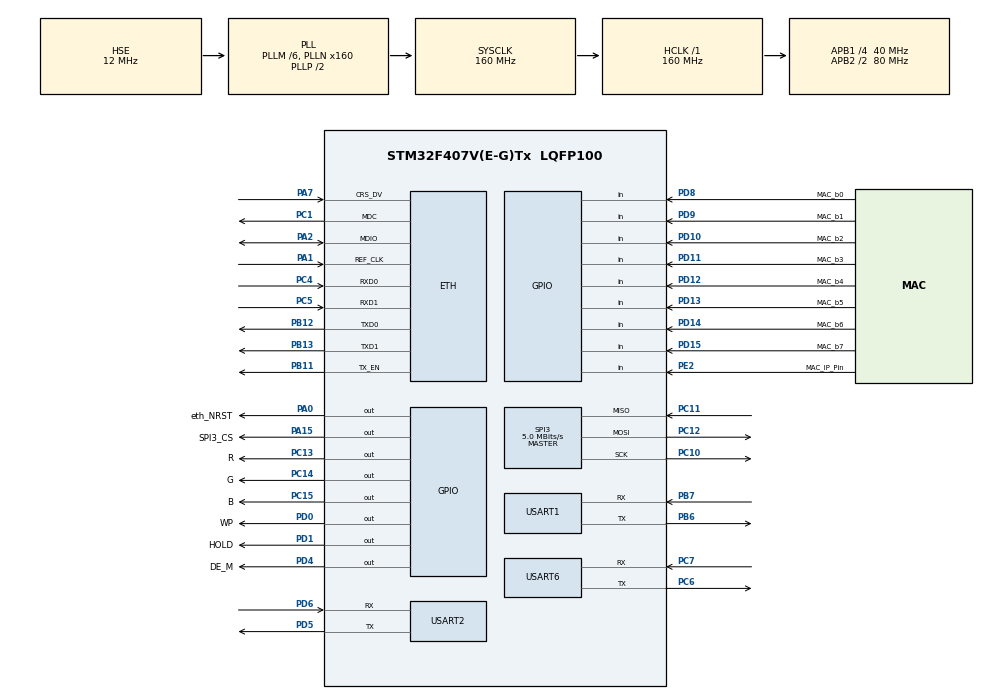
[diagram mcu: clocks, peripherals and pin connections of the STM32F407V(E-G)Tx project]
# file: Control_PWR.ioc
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Dma.Request0=USART1_RX
Dma.Request1=USART6_RX
Dma.Request2=USART6_TX
Dma.USART1_RX.0.Direction=DMA_PERIPH_TO_MEMORY
Dma.USART1_RX.0.FIFOMode=DMA_FIFOMODE_DISABLE
Dma.USART1_RX.0.Instance=DMA2_Stream2
Dma.USART1_RX.0.MemDataAlignment=DMA_MDATAALIGN_HALFWORD
Dma.USART1_RX.0.MemInc=DMA_MINC_ENABLE
Dma.USART1_RX.0.Mode=DMA_NORMAL
Dma.USART1_RX.0.PeriphDataAlignment=DMA_PDATAALIGN_HALFWORD
Dma.USART1_RX.0.PeriphInc=DMA_PINC_DISABLE
Dma.USART1_RX.0.Priority=DMA_PRIORITY_LOW
Dma.USART6_RX.1.Direction=DMA_PERIPH_TO_MEMORY
Dma.USART6_RX.1.FIFOMode=DMA_FIFOMODE_DISABLE
Dma.USART6_RX.1.Instance=DMA2_Stream1
Dma.USART6_RX.1.MemDataAlignment=DMA_MDATAALIGN_BYTE
Dma.USART6_RX.1.MemInc=DMA_MINC_ENABLE
Dma.USART6_RX.1.Mode=DMA_CIRCULAR
Dma.USART6_RX.1.PeriphDataAlignment=DMA_PDATAALIGN_BYTE
Dma.USART6_RX.1.PeriphInc=DMA_PINC_DISABLE
Dma.USART6_RX.1.Priority=DMA_PRIORITY_LOW
Dma.USART6_TX.2.Direction=DMA_MEMORY_TO_PERIPH
Dma.USART6_TX.2.FIFOMode=DMA_FIFOMODE_DISABLE
Dma.USART6_TX.2.Instance=DMA2_Stream6
Dma.USART6_TX.2.MemDataAlignment=DMA_MDATAALIGN_BYTE
Dma.USART6_TX.2.MemInc=DMA_MINC_ENABLE
Dma.USART6_TX.2.Mode=DMA_NORMAL
Dma.USART6_TX.2.PeriphDataAlignment=DMA_PDATAALIGN_BYTE
Dma.USART6_TX.2.PeriphInc=DMA_PINC_DISABLE
Dma.USART6_TX.2.Priority=DMA_PRIORITY_LOW
ETH.MACAddr=44\:84\:23\:84\:44\:76
ETH.MediaInterface=HAL_ETH_RMII_MODE
FREERTOS.BinarySemaphores01=ADC_end,Dynamic,NULL;ADC_end2,Dynamic,NULL;Resive_USART,Dynamic,NULL
FREERTOS.Queues01=rxDataUART2,16,uint8_t,0,Dynamic,NULL,NULL
FREERTOS.Tasks01=MainTask,0,256,mainTask,Default,NULL,Dynamic,NULL,NULL;LED,0,128,led,Default,NULL,Dynamic,NULL,NULL;ethTas,0,768,eth_Task,Default,NULL,Dynamic,NULL,NULL;MBRTUTask,0,256,mbrtuTask,Default,NULL,Dynamic,NULL,NULL;MBETHTask,0,512,mbethTask,Default,NULL,Dynamic,NULL,NULL;uart_task,0,1024,uart_Task,Default,NULL,Dynamic,NULL,NULL
FREERTOS.configTOTAL_HEAP_SIZE=0x8000
FREERTOS.configUSE_NEWLIB_REENTRANT=1
LWIP.BSP.number=1
LWIP.LWIP_DHCP=0
LWIP.LWIP_DNS=1
LWIP.LWIP_NETIF_EXT_STATUS_CALLBACK=1
LWIP.LWIP_NETIF_STATUS_CALLBACK=1
LWIP.Version=v2.1.2_Cube
LWIP0.BSP.STBoard=false
LWIP0.BSP.api=BSP_COMPONENT_DRIVER
LWIP0.BSP.component=LAN8742
LWIP0.BSP.instance=LAN8742
LWIP0.BSP.name=Driver_PHY
LWIP0.BSP.semaphore=S_LAN8742
LWIP0.BSP.solution=LAN8742
Mcu.Family=STM32F4
Mcu.Name=STM32F407V(E-G)Tx
Mcu.Package=LQFP100
NVIC.DMA2_Stream1_IRQn=true\:5\:0\:false\:false\:true\:true\:false\:true\:true
NVIC.DMA2_Stream2_IRQn=true\:5\:0\:false\:false\:true\:true\:false\:true\:true
NVIC.DMA2_Stream6_IRQn=true\:5\:0\:false\:false\:true\:true\:false\:true\:true
NVIC.ETH_IRQn=true\:5\:0\:false\:false\:true\:true\:false\:true\:true
NVIC.PriorityGroup=NVIC_PRIORITYGROUP_4
NVIC.TIM7_IRQn=true\:15\:0\:false\:false\:true\:false\:false\:true\:true
NVIC.TimeBase=TIM7_IRQn
NVIC.TimeBaseIP=TIM7
NVIC.USART2_IRQn=true\:5\:0\:false\:false\:true\:true\:true\:true\:true
NVIC.USART6_IRQn=true\:5\:0\:false\:false\:true\:true\:true\:true\:true
PA0-WKUP.GPIO_Label=eth_NRST
PA0-WKUP.Signal=GPIO_Output
PA1.Mode=RMII
PA1.Signal=ETH_REF_CLK
PA13.Mode=Serial_Wire
PA13.Signal=SYS_JTMS-SWDIO
PA14.Mode=Serial_Wire
PA14.Signal=SYS_JTCK-SWCLK
PA15.GPIO_Label=SPI3_CS
PA15.Signal=GPIO_Output
PA2.Mode=RMII
PA2.Signal=ETH_MDIO
PA3.Signal=ADCx_IN3
PA4.Signal=ADCx_IN4
PA7.Mode=RMII
PA7.Signal=ETH_CRS_DV
PB11.Mode=RMII
PB11.Signal=ETH_TX_EN
PB12.Mode=RMII
PB12.Signal=ETH_TXD0
PB13.Mode=RMII
PB13.Signal=ETH_TXD1
PB6.Mode=Multiprocessor_communication
PB6.Signal=USART1_TX
PB7.Mode=Multiprocessor_communication
PB7.Signal=USART1_RX
PC1.Mode=RMII
PC1.Signal=ETH_MDC
PC10.Mode=Full_Duplex_Master
PC10.Signal=SPI3_SCK
PC11.Mode=Full_Duplex_Master
PC11.Signal=SPI3_MISO
PC12.Mode=Full_Duplex_Master
PC12.Signal=SPI3_MOSI
PC13-ANTI_TAMP.GPIO_Label=R
PC13-ANTI_TAMP.Signal=GPIO_Output
PC14-OSC32_IN.GPIO_Label=G
PC14-OSC32_IN.Signal=GPIO_Output
PC15-OSC32_OUT.GPIO_Label=B
PC15-OSC32_OUT.Signal=GPIO_Output
PC4.Mode=RMII
PC4.Signal=ETH_RXD0
PC5.Mode=RMII
PC5.Signal=ETH_RXD1
PC6.Mode=Asynchronous
PC6.Signal=USART6_TX
PC7.Mode=Asynchronous
PC7.Signal=USART6_RX
PD0.GPIO_Label=WP
PD0.Signal=GPIO_Output
PD1.GPIO_Label=HOLD
PD1.Signal=GPIO_Output
PD10.GPIO_Label=MAC_b2
PD10.GPIO_PuPd=GPIO_PULLDOWN
PD10.Signal=GPIO_Input
PD11.GPIO_Label=MAC_b3
PD11.GPIO_PuPd=GPIO_PULLDOWN
PD11.Signal=GPIO_Input
PD12.GPIO_Label=MAC_b4
PD12.GPIO_PuPd=GPIO_PULLDOWN
PD12.Signal=GPIO_Input
PD13.GPIO_Label=MAC_b5
PD13.GPIO_PuPd=GPIO_PULLDOWN
PD13.Signal=GPIO_Input
PD14.GPIO_Label=MAC_b6
PD14.GPIO_PuPd=GPIO_PULLDOWN
PD14.Signal=GPIO_Input
PD15.GPIO_Label=MAC_b7
PD15.GPIO_PuPd=GPIO_PULLDOWN
PD15.Signal=GPIO_Input
PD4.GPIO_Label=DE_M
PD4.Signal=GPIO_Output
PD5.Mode=Asynchronous
PD5.Signal=USART2_TX
PD6.Mode=Asynchronous
PD6.Signal=USART2_RX
PD8.GPIO_Label=MAC_b0
PD8.GPIO_PuPd=GPIO_PULLDOWN
PD8.Signal=GPIO_Input
PD9.GPIO_Label=MAC_b1
PD9.GPIO_PuPd=GPIO_PULLDOWN
PD9.Signal=GPIO_Input
PE2.GPIO_Label=MAC_IP_Pin
PE2.GPIO_PuPd=GPIO_PULLDOWN
PE2.Signal=GPIO_Input
PH0-OSC_IN.Mode=HSE-External-Oscillator
PH0-OSC_IN.Signal=RCC_OSC_IN
PH1-OSC_OUT.Mode=HSE-External-Oscillator
PH1-OSC_OUT.Signal=RCC_OSC_OUT
ProjectManager.HeapSize=0x6000
ProjectManager.StackSize=0x4000
ProjectManager.TargetToolchain=STM32CubeIDE
RCC.48MHZClocksFreq_Value=80000000
RCC.AHBFreq_Value=160000000
RCC.APB1CLKDivider=RCC_HCLK_DIV4
RCC.APB1Freq_Value=40000000
RCC.APB1TimFreq_Value=80000000
RCC.APB2CLKDivider=RCC_HCLK_DIV2
RCC.APB2Freq_Value=80000000
RCC.APB2TimFreq_Value=160000000
RCC.CortexFreq_Value=160000000
RCC.EnbaleCSS=true
RCC.HCLKFreq_Value=160000000
RCC.HSE_VALUE=12000000
RCC.HSI_VALUE=16000000
RCC.LSE_VALUE=32768
RCC.PLLM=6
RCC.PLLN=160
RCC.PLLSourceVirtual=RCC_PLLSOURCE_HSE
RCC.RCC_MCO1Source=RCC_MCO1SOURCE_HSE
RCC.RCC_MCODiv1=RCC_MCODIV_4
RCC.SYSCLKFreq_VALUE=160000000
RCC.SYSCLKSource=RCC_SYSCLKSOURCE_PLLCLK
RCC.VCOOutputFreq_Value=320000000
SH.ADCx_IN3.0=ADC1_IN3
SH.ADCx_IN4.0=ADC2_IN4
SPI3.BaudRatePrescaler=SPI_BAUDRATEPRESCALER_8
SPI3.CalculateBaudRate=5.0 MBits/s
SPI3.Direction=SPI_DIRECTION_2LINES
SPI3.Mode=SPI_MODE_MASTER
SPI3.VirtualType=VM_MASTER
USART1.VirtualMode=VM_ASYNC
USART1.WakeUpMethode=UART_WAKEUPMETHOD_ADDRESSMARK
USART1.WordLength=WORDLENGTH_9B
USART2.VirtualMode=VM_ASYNC
USART6.VirtualMode=VM_ASYNC
VP_FREERTOS_VS_CMSIS_V1.Mode=CMSIS_V1
VP_LWIP_VS_Enabled.Mode=Enabled
VP_SYS_VS_tim7.Mode=TIM7
board=custom

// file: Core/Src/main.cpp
/* USER CODE BEGIN Header */
/**
 ******************************************************************************
 * @file           : main.c
 * @brief          : Main program body
 ******************************************************************************
 * @attention
 *
 * Copyright (c) 2022 STMicroelectronics.
 * All rights reserved.
 *
 * This software is licensed under terms that can be found in the LICENSE file
 * in the root directory of this software component.
 * If no LICENSE file comes with this software, it is provided AS-IS.
 *
 ******************************************************************************
 */
/* USER CODE END Header */
#include "main.h"
#include "cmsis_os.h"
#include "dma.h"
#include "lwip.h"
#include "spi.h"
#include "usart.h"
#include "gpio.h"

/* USER CODE BEGIN Includes */
//#include "flash_spi.h"
#include "Delay_us_DWT.h"
#include "LED.h"

#include "flash_nvs.h"
#include "settings.h"
/* USER CODE END Includes */

/* USER CODE BEGIN PV */
chName_t NameCH[MAX_CH_NAME];

uint32_t count_tic = 0; //для замеров времени выполнения кода

led LED_IPadr;
led LED_error;
led LED_OSstart;

//for i2c
//g_stat_t I2C_net[45];

bool resetSettings = false;

// for SPI Flash
pins_spi_t ChipSelect = { SPI3_CS_GPIO_Port, SPI3_CS_Pin };
pins_spi_t WriteProtect = { WP_GPIO_Port, WP_Pin };
pins_spi_t Hold = { HOLD_GPIO_Port, HOLD_Pin };
flash mem_spi;
settings_t settings = { 0, 0x0E };
set_bridge_t bridge_sett;
FlashNVS* nvs = nullptr;
/* USER CODE END PV */

void SystemClock_Config(void);
void MX_FREERTOS_Init(void);
/* USER CODE BEGIN PFP */
uint8_t ReadStraps();
void finishedBlink();
void timoutBlink();

/* USER CODE END PFP */

/* USER CODE BEGIN 0 */
//uint8_t ucHeap[ configTOTAL_HEAP_SIZE] __attribute__((section(".ccmram")));

/* USER CODE END 0 */

int main(void)
{

  /* MCU Configuration--------------------------------------------------------*/

  /* Reset of all peripherals, Initializes the Flash interface and the Systick. */
  HAL_Init();

  /* Configure the system clock */
  SystemClock_Config();

  /* Initialize all configured peripherals */
  MX_GPIO_Init();
  MX_DMA_Init();
  MX_SPI3_Init();
  MX_USART1_UART_Init();
  MX_USART2_UART_Init();
  MX_USART6_UART_Init();
  /* USER CODE BEGIN 2 */
	STM_LOG("Start CTRL_LED. %f", 0.01);

	HAL_GPIO_WritePin(R_GPIO_Port, R_Pin, GPIO_PIN_SET); // PC15 VD4
	HAL_GPIO_WritePin(B_GPIO_Port, B_Pin, GPIO_PIN_SET); // PC13 VD2
	HAL_GPIO_WritePin(G_GPIO_Port, G_Pin, GPIO_PIN_SET); // PC14 VD3

	uint8_t endMAC = 0, IP = 100;
	// работаем с настройками из флешки
	HAL_GPIO_WritePin(eth_NRST_GPIO_Port, eth_NRST_Pin, GPIO_PIN_SET);

	//HAL_GPIO_WritePin(HOLD_GPIO_Port, HOLD_Pin, GPIO_PIN_SET);
	//HAL_GPIO_WritePin(WP_GPIO_Port, WP_Pin, GPIO_PIN_SET);

    if (!initAndMigrateStorage(&mem_spi, settings, &nvs)) {
    	STM_LOG("ERR NVS Init");
        // Обработка ошибки инициализации
        Error_Handler();
    }
    readBridgeSettings(nvs, bridge_sett, &huart2);

	//mem_spi.Init(&hspi3, 0, ChipSelect, WriteProtect, Hold, false);
	//mem_spi.Read(&settings);

	// если установлен джампер set
	// заходим в режим настройки
	bool StartSettings = false;
	for (int var = 0; var < 5; ++var) {

		if (HAL_GPIO_ReadPin(MAC_IP_Pin_GPIO_Port, MAC_IP_Pin_Pin)) {
			StartSettings = true;
		} else {
			StartSettings = false;
			break;
		}

		HAL_Delay(30);
	}

	//режим настройки
	if (StartSettings) {
		StartSettings = false;
		HAL_GPIO_WritePin(G_GPIO_Port, G_Pin, GPIO_PIN_RESET); // PC14 VD3

		endMAC = ReadStraps();
		HAL_Delay(300);
		HAL_GPIO_WritePin(R_GPIO_Port, R_Pin, GPIO_PIN_RESET); // PC13 VD2

		// ждем снятия джампера или таймаута
		int time;
		bool Settings;
		for (time = 0; time < 600; ++time) {

			if (HAL_GPIO_ReadPin(MAC_IP_Pin_GPIO_Port, MAC_IP_Pin_Pin)) {
				Settings = true;
			} else {
				Settings = false;
				break;
			}

			HAL_Delay(100);
		}

		if (!Settings) { // if pin settings is 0
			IP = ReadStraps();
			HAL_Delay(300);
			HAL_GPIO_WritePin(B_GPIO_Port, B_Pin, GPIO_PIN_RESET); // PC15 VD4

			if ((settings.version != 0) | (settings.version != 0xFF)) { // если считанные настройки не пусты то перезаписываем только изменения

			    bool settingsChanged = false;

			    if (endMAC != 0xFF) {
			        settings.MAC[5] = endMAC;
			        settingsChanged = true;
			    }

			    if (IP != 0xFF) {
			        settings.saveIP.ip[3] = IP;
			        settingsChanged = true;
			    }

			    if (settingsChanged) {
			        if (!saveSettingsToNVS(nvs, settings)) {
			            STM_LOG(LOG_ERR "Не удалось сохранить новые MAC/IP");
			            // Возможно нужна дополнительная обработка ошибки
			        } else {
			            STM_LOG(LOG_OK " Новые MAC/IP сохранены");
			        }
			    }

				finishedBlink();

				// and reset system
				HAL_Delay(500);
				NVIC_SystemReset();
			} else {
				resetSettings = true; // else reset all settings
			}
		} else {

			timoutBlink();
			// and reset system
			HAL_Delay(1000);
			NVIC_SystemReset();
		}

	}

	/*
	if ((settings.version == 0) | (settings.version == 0xFF) | resetSettings) {
		STM_LOG("Reset settings");

		settings.isON_from_settings = false;
		settings.IP_end_from_settings = 1;

		settings.DHCPset = true;
		settings.devices_depth = 0;

		settings.saveIP.ip[0] = 192;
		settings.saveIP.ip[1] = 168;
		settings.saveIP.ip[2] = 1;
		settings.saveIP.ip[3] = IP;

		settings.saveIP.mask[0] = 255;
		settings.saveIP.mask[1] = 255;
		settings.saveIP.mask[2] = 255;
		settings.saveIP.mask[3] = 0;

		settings.saveIP.gateway[0] = 192;
		settings.saveIP.gateway[1] = 168;
		settings.saveIP.gateway[2] = 1;
		settings.saveIP.gateway[3] = 1;

		settings.MAC[0] = 0x44;
		settings.MAC[1] = 0x84;
		settings.MAC[2] = 0x23;
		settings.MAC[3] = 0x84;
		settings.MAC[4] = 0x44;
		settings.MAC[5] = endMAC;

		settings.version = CURENT_VERSION;

		//setRange_i2c_dev(16, 8);
		if (!saveSettingsToNVS(nvs, settings)) {
			STM_LOG(LOG_ERR "Не удалось сохранить начальные настройки");
			Error_Handler();  // Критическая ошибка при первой инициализации
		} else {
			STM_LOG(LOG_OK " Начальные настройки сохранены");
		}

		finishedBlink();
	}*/

	// настройка первоночального состояния канналов
	if (settings.isON_from_settings) { // если состояние нужно взять из настроек
		// ничего не делаем состояния уже загруженны
	} else {

		//иначе выключаем все канналы

	}

	// reset link
	for (int var = 0; var <= MAX_CH_NAME; ++var) {
		NameCH[var].dev = NULL;
		NameCH[var].Channel_number = 0xff;
	}

	// linking the channel name with the device and channel number
	for (int var = 0; var <= MAX_ADR_DEV; ++var) {
		// check device address
		if ((settings.devices[var].Addr >= START_ADR_I2C)
				&& (settings.devices[var].Addr <= (START_ADR_I2C + MAX_ADR_DEV))) {
			for (int i = 0; i < 3; ++i) {
				NameCH[settings.devices[var].ch[i].Name_ch].dev =
						&settings.devices[var];
				NameCH[settings.devices[var].ch[i].Name_ch].Channel_number = i;
			}
		}
	}

	mem_spi.SetUsedInOS(true); // switch to use in OS
  /* USER CODE END 2 */

  /* Call init function for freertos objects (in cmsis_os2.c) */
  MX_FREERTOS_Init();

  /* Start scheduler */
  osKernelStart();

  /* We should never get here as control is now taken by the scheduler */

  /* Infinite loop */
	while (1) {

	}
}

void SystemClock_Config(void)
{
  RCC_OscInitTypeDef RCC_OscInitStruct = {0};
  RCC_ClkInitTypeDef RCC_ClkInitStruct = {0};

  /** Configure the main internal regulator output voltage
  */
  __HAL_RCC_PWR_CLK_ENABLE();
  __HAL_PWR_VOLTAGESCALING_CONFIG(PWR_REGULATOR_VOLTAGE_SCALE1);

  /** Initializes the RCC Oscillators according to the specified parameters
  * in the RCC_OscInitTypeDef structure.
  */
  RCC_OscInitStruct.OscillatorType = RCC_OSCILLATORTYPE_HSE;
  RCC_OscInitStruct.HSEState = RCC_HSE_ON;
  RCC_OscInitStruct.PLL.PLLState = RCC_PLL_ON;
  RCC_OscInitStruct.PLL.PLLSource = RCC_PLLSOURCE_HSE;
  RCC_OscInitStruct.PLL.PLLM = 6;
  RCC_OscInitStruct.PLL.PLLN = 160;
  RCC_OscInitStruct.PLL.PLLP = RCC_PLLP_DIV2;
  RCC_OscInitStruct.PLL.PLLQ = 4;
  if (HAL_RCC_OscConfig(&RCC_OscInitStruct) != HAL_OK)
  {
    Error_Handler();
  }

  /** Initializes the CPU, AHB and APB buses clocks
  */
  RCC_ClkInitStruct.ClockType = RCC_CLOCKTYPE_HCLK|RCC_CLOCKTYPE_SYSCLK
                              |RCC_CLOCKTYPE_PCLK1|RCC_CLOCKTYPE_PCLK2;
  RCC_ClkInitStruct.SYSCLKSource = RCC_SYSCLKSOURCE_PLLCLK;
  RCC_ClkInitStruct.AHBCLKDivider = RCC_SYSCLK_DIV1;
  RCC_ClkInitStruct.APB1CLKDivider = RCC_HCLK_DIV4;
  RCC_ClkInitStruct.APB2CLKDivider = RCC_HCLK_DIV2;

  if (HAL_RCC_ClockConfig(&RCC_ClkInitStruct, FLASH_LATENCY_5) != HAL_OK)
  {
    Error_Handler();
  }

  /** Enables the Clock Security System
  */
  HAL_RCC_EnableCSS();
}

/* USER CODE BEGIN 4 */
uint8_t ReadStraps() {
	uint8_t tempStraps;

	//Bit0
	if (HAL_GPIO_ReadPin(MAC_b0_GPIO_Port, MAC_b0_Pin))
		SET_BIT(tempStraps, 1 << 0);
	else
		CLEAR_BIT(tempStraps, 1 << 0);
	//Bit1
	if (HAL_GPIO_ReadPin(MAC_b1_GPIO_Port, MAC_b1_Pin))
		SET_BIT(tempStraps, 1 << 1);
	else
		CLEAR_BIT(tempStraps, 1 << 1);
	//Bit2
	if (HAL_GPIO_ReadPin(MAC_b2_GPIO_Port, MAC_b2_Pin))
		SET_BIT(tempStraps, 1 << 2);
	else
		CLEAR_BIT(tempStraps, 1 << 2);
	//Bit3
	if (HAL_GPIO_ReadPin(MAC_b3_GPIO_Port, MAC_b3_Pin))
		SET_BIT(tempStraps, 1 << 3);
	else
		CLEAR_BIT(tempStraps, 1 << 3);
	//Bit4
	if (HAL_GPIO_ReadPin(MAC_b4_GPIO_Port, MAC_b4_Pin))
		SET_BIT(tempStraps, 1 << 4);
	else
		CLEAR_BIT(tempStraps, 1 << 4);
	//Bit5
	if (HAL_GPIO_ReadPin(MAC_b5_GPIO_Port, MAC_b5_Pin))
		SET_BIT(tempStraps, 1 << 5);
	else
		CLEAR_BIT(tempStraps, 1 << 5);
	//Bit6
	if (HAL_GPIO_ReadPin(MAC_b6_GPIO_Port, MAC_b6_Pin))
		SET_BIT(tempStraps, 1 << 6);
	else
		CLEAR_BIT(tempStraps, 1 << 6);
	//Bit7
	if (HAL_GPIO_ReadPin(MAC_b7_GPIO_Port, MAC_b7_Pin))
		SET_BIT(tempStraps, 1 << 7);
	else
		CLEAR_BIT(tempStraps, 1 << 7);

	return tempStraps;
}

void finishedBlink() {
#define  timeBetween 300

	// finished blink
	HAL_GPIO_WritePin(B_GPIO_Port, B_Pin, GPIO_PIN_SET); // PC15 VD4
	HAL_GPIO_WritePin(R_GPIO_Port, R_Pin, GPIO_PIN_SET); // PC13 VD2
	HAL_GPIO_WritePin(G_GPIO_Port, G_Pin, GPIO_PIN_SET); // PC14 VD3

	for (int var = 0; var < 5; ++var) {
		HAL_GPIO_WritePin(G_GPIO_Port, G_Pin, GPIO_PIN_RESET); // PC14 VD3
		HAL_Delay(timeBetween);
		HAL_GPIO_WritePin(G_GPIO_Port, G_Pin, GPIO_PIN_SET); // PC14 VD3
		HAL_GPIO_WritePin(R_GPIO_Port, R_Pin, GPIO_PIN_RESET); // PC13 VD2
		HAL_Delay(timeBetween);
		HAL_GPIO_WritePin(R_GPIO_Port, R_Pin, GPIO_PIN_SET); // PC13 VD2
		HAL_GPIO_WritePin(B_GPIO_Port, B_Pin, GPIO_PIN_RESET); // PC15 VD4
		HAL_Delay(timeBetween);
		HAL_GPIO_WritePin(B_GPIO_Port, B_Pin, GPIO_PIN_SET); // PC15 VD4

	}

	HAL_GPIO_WritePin(B_GPIO_Port, B_Pin, GPIO_PIN_SET); // PC15 VD4
	HAL_GPIO_WritePin(R_GPIO_Port, R_Pin, GPIO_PIN_SET); // PC13 VD2
	HAL_GPIO_WritePin(G_GPIO_Port, G_Pin, GPIO_PIN_SET); // PC14 VD3
}

void timoutBlink() {
	// timOut plink  all
	HAL_GPIO_WritePin(B_GPIO_Port, B_Pin, GPIO_PIN_RESET); // PC15 VD4
	HAL_GPIO_WritePin(R_GPIO_Port, R_Pin, GPIO_PIN_RESET); // PC13 VD2
	HAL_GPIO_WritePin(G_GPIO_Port, G_Pin, GPIO_PIN_RESET); // PC14 VD3
	for (int var = 0; var < 5; ++var) {
		HAL_GPIO_TogglePin(B_GPIO_Port, B_Pin); // PC15 VD4
		HAL_GPIO_TogglePin(R_GPIO_Port, R_Pin); // PC13 VD2
		HAL_GPIO_TogglePin(G_GPIO_Port, G_Pin); // PC14 VD3
		HAL_Delay(800);
	}
}

/*
 * функция установки нового устройства
 * Addr - I2C адрес
 * CH	- один из трех канвлов
 * Name	- глобальное имя от 1 до 45
 */
int set_i2c_dev(uint8_t Addr, uint8_t CH, uint8_t Name) {
	uint8_t ret = 0, dev = (Addr - START_ADR_I2C);

	// проверка входных данных
	if (CH > 2) {
		return 1;
	}
	if ((Name > MAX_CH_NAME)) {
		return 2;
	}
	//если вышли за диапазон
	if ((Addr < START_ADR_I2C) || (Addr > (START_ADR_I2C + MAX_ADR_DEV))) {
		return 3;
	}

	//mem_spi.W25qxx_EraseSector(0);
	NameCH[Name].dev = &settings.devices[dev];
	NameCH[Name].Channel_number = CH;

	// записываем данные в память и сохраняем на флешку
	settings.devices[dev].Addr = Addr;
	settings.devices[dev].AddrFromDev = 0;
	settings.devices[dev].ch[CH].Name_ch = Name;
	settings.devices[dev].ERR_counter = 0;
	settings.devices[dev].last_ERR = 0;
	settings.devices[dev].TypePCB = PCBType::NoInit;

	settings.devices[dev].ch[CH].Current = 0;
	settings.devices[dev].ch[CH].IsOn = 0;
	settings.devices[dev].ch[CH].On_off = 0;
	settings.devices[dev].ch[CH].PWM = 0;
	settings.devices[dev].ch[CH].PWM_out = 0;
	//mem_spi.Write(settings);

	return ret;
}

/*
 * функция удаления устройства
 * Addr - I2C адрес
 * CH	- один из трех канвлов
 * Name	- глобальное имя от 1 до 45
 */
int del_Name_dev(uint8_t Name) {
	uint8_t ret = 0;

	if ((Name > 44)) {
		return -2;
	}

	//mem_spi.W25qxx_EraseSector(0);
	// записываем данные в память и сохраняем на флешку
	//NameCH[Name].dev = &settings.devices[dev];
	uint8_t CH = NameCH[Name].Channel_number;

	// записываем данные в память и сохраняем на флешку
	NameCH[Name].dev->Addr = 0xff;
	NameCH[Name].dev->AddrFromDev = 0xff;
	NameCH[Name].dev->ch[CH].Name_ch = 0xff;
	NameCH[Name].dev->ERR_counter = 0xffffffff;
	NameCH[Name].dev->last_ERR = 0xffffffff;
	NameCH[Name].dev->TypePCB = PCBType::NoInit;

	NameCH[Name].dev->ch[CH].Current = 0xffff;
	NameCH[Name].dev->ch[CH].IsOn = 0xff;
	NameCH[Name].dev->ch[CH].On_off = 0xff;
	NameCH[Name].dev->ch[CH].PWM = 0xffffffff;
	NameCH[Name].dev->ch[CH].PWM_out = 0xffffffff;

	NameCH[Name].dev = NULL;
	NameCH[Name].Channel_number = 0xff;
	//mem_spi.Write(settings);

	return ret;
}

void setRange_i2c_dev(uint8_t startAddres, uint8_t quantity) {
	// Clear all
	cleanAll_i2c_dev();

	uint8_t name_num = 0;
	for (int var = 0; var < quantity; ++var) {
		for (int ch = 0; ch < 3; ++ch) {
			set_i2c_dev(startAddres + var, ch, name_num);
			++name_num;
			settings.devices_depth++;
		}
	}
}

void cleanAll_i2c_dev() {
	// Clear all
	for (int var = 0; var <= MAX_CH_NAME; ++var) {
		del_Name_dev(var);
	}
	del_all_dev();
}

void del_all_dev() {
	for (int var = 0; var < MAX_ADR_DEV; ++var) {

		settings.devices[var].Addr = 0xff;
		settings.devices[var].AddrFromDev = 0xff;
		settings.devices[var].ERR_counter = 0xffffffff;
		settings.devices[var].last_ERR = 0xffffffff;
		settings.devices[var].TypePCB = PCBType::NoInit;

		for (int CH = 0; CH < 3; ++CH) {
			settings.devices[var].ch[CH].Current = 0xffff;
			settings.devices[var].ch[CH].IsOn = 0xff;
			settings.devices[var].ch[CH].On_off = 0xff;
			settings.devices[var].ch[CH].PWM = 0xffffffff;
			settings.devices[var].ch[CH].PWM_out = 0xffffffff;
			settings.devices[var].ch[CH].Name_ch = 0xff;
		}

	}
	settings.devices_depth = 0;
}

uint8_t log_tx_buffer[LOG_TX_BUF_SIZE + 2];

void STM_LOG(const char *format, ...) {
	while (DBG_PORT.gState != HAL_UART_STATE_READY)
		;
	va_list args;
	int size = 0;

	va_start(args, format);
	//vsprintf((char *)log_tx_buffer, format, args);
	size = vsnprintf((char*) log_tx_buffer, LOG_TX_BUF_SIZE, format, args);
	va_end(args);

	// добавить \r
	log_tx_buffer[size] = '\r';
	log_tx_buffer[size + 1] = 0;

	HAL_UART_Transmit_DMA(&DBG_PORT, log_tx_buffer,
			strlen((const char*) log_tx_buffer));
}

/* USER CODE END 4 */

void HAL_TIM_PeriodElapsedCallback(TIM_HandleTypeDef *htim)
{
  if (htim->Instance == TIM7) {
    HAL_IncTick();
  }
}

void Error_Handler(void)
{
  /* USER CODE BEGIN Error_Handler_Debug */
	/* User can add his own implementation to report the HAL error return state */
	STM_LOG("Error handler");
	__disable_irq();
	while (1) {
	}
  /* USER CODE END Error_Handler_Debug */
}
